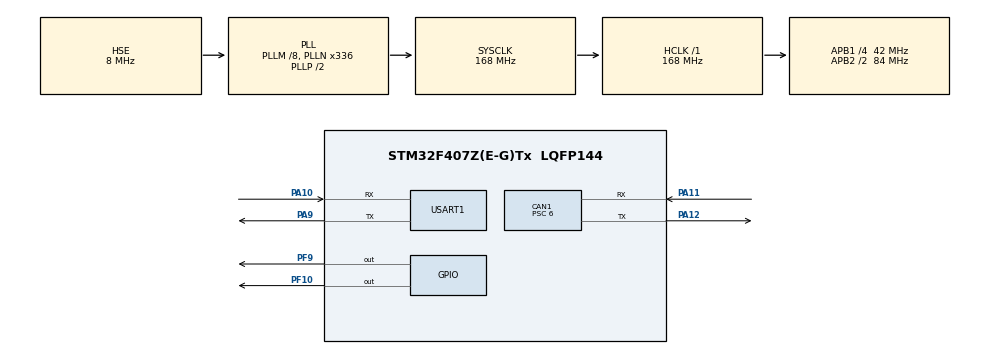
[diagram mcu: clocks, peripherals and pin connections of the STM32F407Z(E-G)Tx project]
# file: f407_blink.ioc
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CAN1.BS1=CAN_BS1_11TQ
CAN1.BS2=CAN_BS2_2TQ
CAN1.CalculateBaudRate=1000000
CAN1.CalculateTimeBit=1000
CAN1.CalculateTimeQuantum=71.42857142857143
CAN1.Prescaler=6
FREERTOS.Tasks01=defaultTask,0,128,StartDefaultTask,Default,NULL,Dynamic,NULL,NULL
Mcu.Family=STM32F4
Mcu.Name=STM32F407Z(E-G)Tx
Mcu.Package=LQFP144
NVIC.CAN1_RX0_IRQn=true\:5\:0\:false\:false\:true\:true\:true\:true\:true
NVIC.CAN1_RX1_IRQn=true\:5\:0\:false\:false\:true\:true\:true\:true\:true
NVIC.CAN1_TX_IRQn=true\:5\:0\:false\:false\:true\:true\:true\:true\:true
NVIC.PriorityGroup=NVIC_PRIORITYGROUP_4
NVIC.TIM3_IRQn=true\:5\:0\:false\:false\:true\:true\:true\:true\:true
PA10.Mode=Asynchronous
PA10.Signal=USART1_RX
PA11.Mode=CAN_Activate
PA11.Signal=CAN1_RX
PA12.Mode=CAN_Activate
PA12.Signal=CAN1_TX
PA13.Mode=Serial_Wire
PA13.Signal=SYS_JTMS-SWDIO
PA14.Mode=Serial_Wire
PA14.Signal=SYS_JTCK-SWCLK
PA9.Mode=Asynchronous
PA9.Signal=USART1_TX
PF10.Signal=GPIO_Output
PF9.Signal=GPIO_Output
PH0-OSC_IN.Mode=HSE-External-Oscillator
PH0-OSC_IN.Signal=RCC_OSC_IN
PH1-OSC_OUT.Mode=HSE-External-Oscillator
PH1-OSC_OUT.Signal=RCC_OSC_OUT
ProjectManager.HeapSize=0x200
ProjectManager.StackSize=0x400
ProjectManager.TargetToolchain=STM32CubeIDE
RCC.48MHZClocksFreq_Value=48000000
RCC.AHBFreq_Value=168000000
RCC.APB1CLKDivider=RCC_HCLK_DIV4
RCC.APB1Freq_Value=42000000
RCC.APB1TimFreq_Value=84000000
RCC.APB2CLKDivider=RCC_HCLK_DIV2
RCC.APB2Freq_Value=84000000
RCC.APB2TimFreq_Value=168000000
RCC.CortexFreq_Value=168000000
RCC.HCLKFreq_Value=168000000
RCC.HSE_VALUE=8000000
RCC.HSI_VALUE=16000000
RCC.LSE_VALUE=32768
RCC.PLLM=8
RCC.PLLN=336
RCC.SYSCLKFreq_VALUE=168000000
RCC.SYSCLKSource=RCC_SYSCLKSOURCE_PLLCLK
RCC.VCOOutputFreq_Value=336000000
TIM3.Period=9999
TIM3.Prescaler=8399
USART1.VirtualMode=VM_ASYNC
VP_FREERTOS_VS_CMSIS_V1.Mode=CMSIS_V1
VP_TIM3_VS_ClockSourceINT.Mode=Internal
board=custom

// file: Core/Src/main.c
/* USER CODE BEGIN Header */
/**
  ******************************************************************************
  * @file           : main.c
  * @brief          : F407 点灯 + 串口打印
  ******************************************************************************
  */
/* USER CODE END Header */
#include "main.h"
#include "cmsis_os.h"
#include "can.h"
#include "tim.h"
#include "usart.h"
#include "gpio.h"

/* USER CODE BEGIN Includes */
#include <stdio.h>
extern SemaphoreHandle_t xBinarySemaphore;
/* USER CODE END Includes */

void SystemClock_Config(void);
void MX_FREERTOS_Init(void);

int main(void)
{

  /* USER CODE BEGIN 1 */
  SCB->VTOR = 0x08010000U;              /* IAP：向量表偏移到 APP 区 */
  __enable_irq();                       /* Bootloader 跳转前关了中断，否则 HAL_Delay 卡死 */

  /* USER CODE END 1 */

  /* MCU Configuration--------------------------------------------------------*/

  /* Reset of all peripherals, Initializes the Flash interface and the Systick. */
  HAL_Init();

  /* Configure the system clock */
  SystemClock_Config();

  /* Initialize all configured peripherals */
  MX_GPIO_Init();
  MX_USART1_UART_Init();
  MX_TIM3_Init();
  MX_CAN1_Init();
  /* USER CODE BEGIN 2 */
  printf("F407 App v1.0 Start!\r\n");
  HAL_TIM_Base_Start_IT(&htim3);
  /* USER CODE END 2 */

  /* Call init function for freertos objects (in cmsis_os2.c) */
  MX_FREERTOS_Init();

  /* Start scheduler */
  osKernelStart();

  /* We should never get here as control is now taken by the scheduler */

  /* Infinite loop */
  while (1)
  {

  }
}

void SystemClock_Config(void)
{
  RCC_OscInitTypeDef RCC_OscInitStruct = {0};
  RCC_ClkInitTypeDef RCC_ClkInitStruct = {0};

  /** Configure the main internal regulator output voltage
  */
  __HAL_RCC_PWR_CLK_ENABLE();
  __HAL_PWR_VOLTAGESCALING_CONFIG(PWR_REGULATOR_VOLTAGE_SCALE1);

  /** Initializes the RCC Oscillators according to the specified parameters
  * in the RCC_OscInitTypeDef structure.
  */
  RCC_OscInitStruct.OscillatorType = RCC_OSCILLATORTYPE_HSE;
  RCC_OscInitStruct.HSEState = RCC_HSE_ON;
  RCC_OscInitStruct.PLL.PLLState = RCC_PLL_ON;
  RCC_OscInitStruct.PLL.PLLSource = RCC_PLLSOURCE_HSE;
  RCC_OscInitStruct.PLL.PLLM = 8;
  RCC_OscInitStruct.PLL.PLLN = 336;
  RCC_OscInitStruct.PLL.PLLP = RCC_PLLP_DIV2;
  RCC_OscInitStruct.PLL.PLLQ = 7;
  if (HAL_RCC_OscConfig(&RCC_OscInitStruct) != HAL_OK)
  {
    Error_Handler();
  }

  /** Initializes the CPU, AHB and APB buses clocks
  */
  RCC_ClkInitStruct.ClockType = RCC_CLOCKTYPE_HCLK|RCC_CLOCKTYPE_SYSCLK
                              |RCC_CLOCKTYPE_PCLK1|RCC_CLOCKTYPE_PCLK2;
  RCC_ClkInitStruct.SYSCLKSource = RCC_SYSCLKSOURCE_PLLCLK;
  RCC_ClkInitStruct.AHBCLKDivider = RCC_SYSCLK_DIV1;
  RCC_ClkInitStruct.APB1CLKDivider = RCC_HCLK_DIV4;
  RCC_ClkInitStruct.APB2CLKDivider = RCC_HCLK_DIV2;

  if (HAL_RCC_ClockConfig(&RCC_ClkInitStruct, FLASH_LATENCY_5) != HAL_OK)
  {
    Error_Handler();
  }
}

/* USER CODE BEGIN 4 */
void HAL_TIM_PeriodElapsedCallback(TIM_HandleTypeDef *htim)
{
    if(htim->Instance == TIM3)
    {
    	xSemaphoreGiveFromISR(
    	    xBinarySemaphore,
    	    NULL
    	);
    }
}
/* USER CODE END 4 */

void Error_Handler(void)
{
  __disable_irq();
  while (1)
  {
  }
}

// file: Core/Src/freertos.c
/* USER CODE BEGIN Header */
/**
  ******************************************************************************
  * File Name          : freertos.c
  * Description        : Code for freertos applications
  ******************************************************************************
  * @attention
  *
  * Copyright (c) 2026 STMicroelectronics.
  * All rights reserved.
  *
  * This software is licensed under terms that can be found in the LICENSE file
  * in the root directory of this software component.
  * If no LICENSE file comes with this software, it is provided AS-IS.
  *
  ******************************************************************************
  */
/* USER CODE END Header */

#include "FreeRTOS.h"
#include "task.h"
#include "main.h"
#include "cmsis_os.h"

/* USER CODE BEGIN Includes */
#include <stdio.h>
#include "app_arch.h"
/* USER CODE END Includes */

/* USER CODE BEGIN Variables */
SemaphoreHandle_t xBinarySemaphore;
osMutexId uartMutexHandle;
/* USER CODE END Variables */
osThreadId defaultTaskHandle;

void StartDefaultTask(void const * argument);

void MX_FREERTOS_Init(void); /* (MISRA C 2004 rule 8.1) */

/* GetIdleTaskMemory prototype (linked to static allocation support) */
void vApplicationGetIdleTaskMemory( StaticTask_t **ppxIdleTaskTCBBuffer, StackType_t **ppxIdleTaskStackBuffer, uint32_t *pulIdleTaskStackSize );

/* USER CODE BEGIN GET_IDLE_TASK_MEMORY */
static StaticTask_t xIdleTaskTCBBuffer;
static StackType_t xIdleStack[configMINIMAL_STACK_SIZE];

void vApplicationGetIdleTaskMemory( StaticTask_t **ppxIdleTaskTCBBuffer, StackType_t **ppxIdleTaskStackBuffer, uint32_t *pulIdleTaskStackSize )
{
  *ppxIdleTaskTCBBuffer = &xIdleTaskTCBBuffer;
  *ppxIdleTaskStackBuffer = &xIdleStack[0];
  *pulIdleTaskStackSize = configMINIMAL_STACK_SIZE;
  /* place for user code */
}
/* USER CODE END GET_IDLE_TASK_MEMORY */

void MX_FREERTOS_Init(void) {
  /* USER CODE BEGIN Init */
	xBinarySemaphore = xSemaphoreCreateBinary();

  /* USER CODE END Init */

  /* USER CODE BEGIN RTOS_MUTEX */
  /* add mutexes, ... */
	osMutexDef(uartMutex);

	uartMutexHandle = osMutexCreate(osMutex(uartMutex));
  /* USER CODE END RTOS_MUTEX */

  /* Create the thread(s) */
  /* definition and creation of defaultTask */
  osThreadDef(defaultTask, StartDefaultTask, osPriorityNormal, 0, 128);
  defaultTaskHandle = osThreadCreate(osThread(defaultTask), NULL);

  /* USER CODE BEGIN RTOS_THREADS */
  /* Day 14：综合架构（Phase 2 收官）——收敛演示任务，启动正式系统任务 */
  osThreadDef(archTask,
            ArchDemoTask,
            osPriorityLow,
            0,
            256);

osThreadCreate(
            osThread(archTask),
            NULL);
  /* USER CODE END RTOS_THREADS */

}

void StartDefaultTask(void const * argument)
{
  /* USER CODE BEGIN StartDefaultTask */
  /* Infinite loop */
  for(;;)
  {
	  HAL_GPIO_TogglePin(GPIOF, GPIO_PIN_9);

	      /* Day15：LED 2s 周期闪烁（亮1s/灭1s），用于确认新固件烧录成功 */
	      osDelay(1000);
  }
  /* USER CODE END StartDefaultTask */
}

/* USER CODE BEGIN Application */

/**
  * @brief  内存分配失败钩子：pvPortMalloc 申请失败时由内核调用
  * @param  无
  * @retval 无
  *
  * 说明：本工程堆空间不足时进入此函数。演示中打印提示后返回，
  *       调用方 pvPortMalloc 会返回 NULL；
  *       工业应用中通常在此进入错误处理或系统复位。
  */
void vApplicationMallocFailedHook(void)
{
    /* 用临界区而非互斥锁：hook 可能在调度器未启动时被调用 */
    taskENTER_CRITICAL();
    printf("[MEM] !! MALLOC FAILED HOOK !!\r\n");
    taskEXIT_CRITICAL();
}

/**
  * @brief  栈溢出钩子：configCHECK_FOR_STACK_OVERFLOW 检测到溢出时由内核调用
  * @param  xTask: 溢出任务句柄
  * @param  pcTaskName: 溢出任务名
  * @retval 无
  *
  * 说明：任务栈已被破坏，系统状态不可信，打印后直接复位恢复。
  *       工业应用中通常在此记录故障日志后复位或进入安全模式。
  */
void vApplicationStackOverflowHook(TaskHandle_t xTask, char *pcTaskName)
{
    (void)xTask;

    /* 临界区打印：hook 运行在任务切换上下文，不能用互斥锁 */
    taskENTER_CRITICAL();
    printf("[FAULT] STACK OVERFLOW detected! task=%s\r\n", pcTaskName);
    taskEXIT_CRITICAL();

    NVIC_SystemReset();
}

/**
  * @brief  定时器服务任务内存（静态分配）
  *         CubeMX 重新生成可能删除此函数，故放 USER CODE 保护区
  * @param  ppxTimerTaskTCBBuffer: TCB 缓冲区指针
  * @param  ppxTimerTaskStackBuffer: 栈缓冲区指针
  * @param  pulTimerTaskStackSize: 栈大小（字）
  * @retval 无
  */
static StaticTask_t xTimerTaskTCBBuffer;
static StackType_t xTimerStack[configTIMER_TASK_STACK_DEPTH];

void vApplicationGetTimerTaskMemory( StaticTask_t **ppxTimerTaskTCBBuffer, StackType_t **ppxTimerTaskStackBuffer, uint32_t *pulTimerTaskStackSize )
{
  *ppxTimerTaskTCBBuffer = &xTimerTaskTCBBuffer;
  *ppxTimerTaskStackBuffer = &xTimerStack[0];
  *pulTimerTaskStackSize = configTIMER_TASK_STACK_DEPTH;
}

/* USER CODE END Application */
